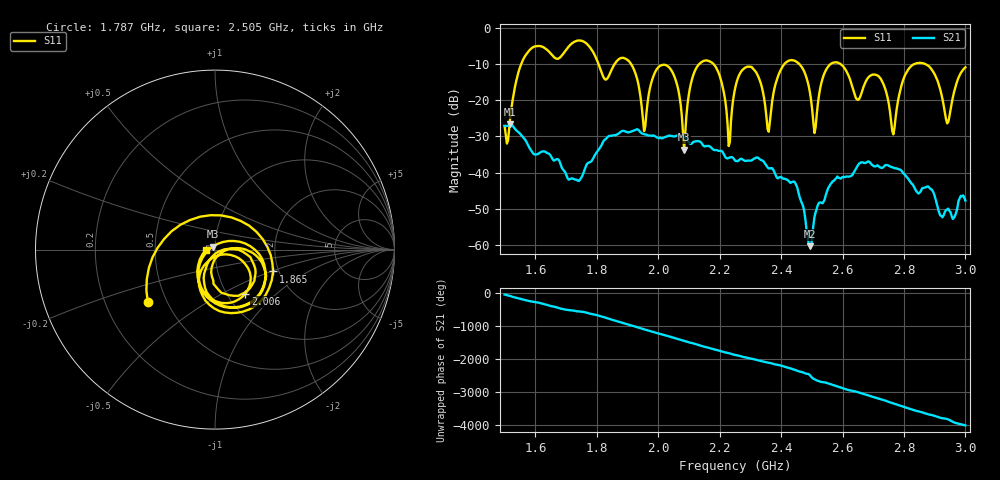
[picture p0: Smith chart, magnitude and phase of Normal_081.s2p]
# HZ S RI R 50
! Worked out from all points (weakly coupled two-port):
!   404 points, 1.5 GHz to 3 GHz, reference 50 ohm
!   highest |S21| = -26.64 dB at 1.519 GHz (marker M1); lowest = -60.3 dB at 2.494 GHz (marker M2)
!   lowest |S11| = -33.6 dB at 2.084 GHz (marker M3), VSWR 1.04, Z = 48.7 + j1.62 ohm
!   |S11| at or under -10 dB: 1.912 GHz to 2.134 GHz (222 MHz wide, 11 % of centre); 2.18 GHz to 2.411 GHz (230.8 MHz wide, 10.1 % of centre); 2.593 GHz to 2.834 GHz (240.6 MHz wide, 8.87 % of centre) (the widest 3 of 7)
!   S12 and S22 are empty: the file has one direction only
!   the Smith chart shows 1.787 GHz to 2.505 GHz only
!   S11 on the Smith chart (normalised r, x): 1.787 GHz: 0.39, -0.30; 1.865 GHz: 1.86, -0.52; 2.006 GHz: 1.21, -0.66; 2.505 GHz: 0.90, +0.00
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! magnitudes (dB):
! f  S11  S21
! 1.5 GHz  -27.1  -27.1
! 1.519 GHz  -24.5  -26.6
! 1.582 GHz  -6.1  -33.3
! 1.753 GHz  -3.6  -40.9
! 1.787 GHz  -6.5  -36.3
! 1.865 GHz  -9.2  -29.5
! 1.954 GHz  -28.5  -29.4
! 2.002 GHz  -10.7  -30.5
! 2.006 GHz  -10.5  -30.4
! 2.084 GHz  -33.6  -30.2
! 2.14 GHz  -9.5  -31.7
! 2.23 GHz  -32.7  -35.9
! 2.252 GHz  -16.1  -36.8
! 2.36 GHz  -28.7  -38.8
! 2.445 GHz  -9.1  -42.7
! 2.494 GHz  -17.8  -60.3
! 2.501 GHz  -22.6  -58.1
! 2.505 GHz  -26.0  -54.7
! 2.572 GHz  -9.6  -42.2
! 2.751 GHz  -21.0  -38.1
! 2.944 GHz  -26.0  -50.0
! 3 GHz  -10.9  -47.7
